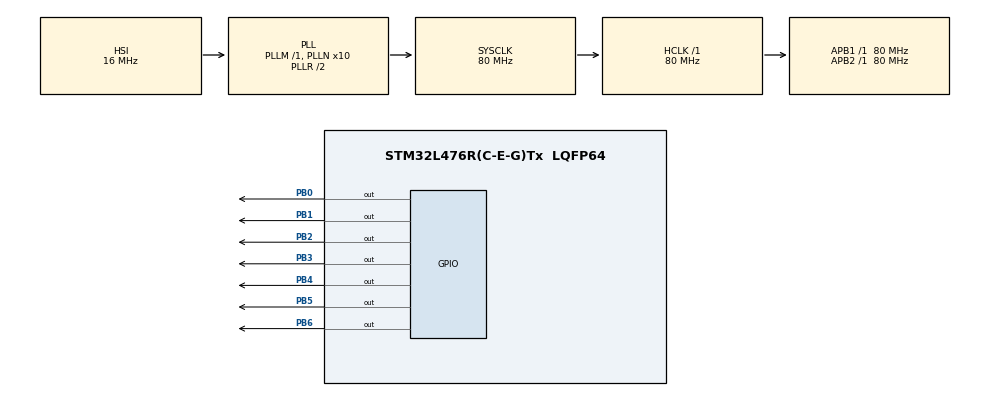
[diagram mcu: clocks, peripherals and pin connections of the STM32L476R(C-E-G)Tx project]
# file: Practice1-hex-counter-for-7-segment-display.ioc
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Mcu.Family=STM32L4
Mcu.Name=STM32L476R(C-E-G)Tx
Mcu.Package=LQFP64
NVIC.PriorityGroup=NVIC_PRIORITYGROUP_4
PB0.Signal=GPIO_Output
PB1.Signal=GPIO_Output
PB2.Signal=GPIO_Output
PB3\ (JTDO-TRACESWO).Signal=GPIO_Output
PB4\ (NJTRST).Signal=GPIO_Output
PB5.Signal=GPIO_Output
PB6.Signal=GPIO_Output
ProjectManager.HeapSize=0x200
ProjectManager.StackSize=0x400
ProjectManager.TargetToolchain=STM32CubeIDE
RCC.ADCFreq_Value=64000000
RCC.AHBFreq_Value=80000000
RCC.APB1Freq_Value=80000000
RCC.APB1TimFreq_Value=80000000
RCC.APB2Freq_Value=80000000
RCC.APB2TimFreq_Value=80000000
RCC.CortexFreq_Value=80000000
RCC.HCLKFreq_Value=80000000
RCC.HSE_VALUE=8000000
RCC.HSI_VALUE=16000000
RCC.MSI_VALUE=4000000
RCC.PLLN=10
RCC.PLLSourceVirtual=RCC_PLLSOURCE_HSI
RCC.PREFETCH_ENABLE=1
RCC.SYSCLKFreq_VALUE=80000000
RCC.SYSCLKSource=RCC_SYSCLKSOURCE_PLLCLK
RCC.USBFreq_Value=64000000
RCC.VCOOutputFreq_Value=160000000
board=NUCLEO-L476RG

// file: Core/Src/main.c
/* USER CODE BEGIN Header */
/**
  ******************************************************************************
  * @file           : main.c
  * @brief          : Main program body
  ******************************************************************************
  * @attention
  *
  * Copyright (c) 2025 STMicroelectronics.
  * All rights reserved.
  *
  * This software is licensed under terms that can be found in the LICENSE file
  * in the root directory of this software component.
  * If no LICENSE file comes with this software, it is provided AS-IS.
  *
  ******************************************************************************
  */
/* USER CODE END Header */
#include "main.h"

void SystemClock_Config(void);
static void MX_GPIO_Init(void);

/* USER CODE BEGIN 0 */

//array of register hex number
int LED_Hex[] = {
  0x3F,    // 0
  0x06,    // 1
  0x5B,    // 2
  0x4F,    // 3
  0x66,    // 4
  0x6D,    // 5
  0x7D,    // 6
  0x27,    // 7
  0x7F,    // 8
  0x67,    // 9
  0x5F,    // A
  0x7C,    // B
  0x58,    // C
  0x5E,    // D
  0x7B,    // E
  0x71     // F
};

int CounterNumber = 0;    //counter number

void ResetAllData() {
  GPIOB -> ODR = 0x00;    //reset all register data
}

/* USER CODE END 0 */

int main(void)
{

  /* MCU Configuration--------------------------------------------------------*/

  /* Reset of all peripherals, Initializes the Flash interface and the Systick. */
  HAL_Init();

  /* Configure the system clock */
  SystemClock_Config();

  /* Initialize all configured peripherals */
  MX_GPIO_Init();
  /* USER CODE BEGIN 2 */

  ResetAllData();    //reset all data

  /* USER CODE END 2 */

  /* Infinite loop */
  while (1)
  {

    GPIOB -> ODR = LED_Hex[CounterNumber];    //write data to register
    HAL_Delay(1000);    //delay time
    CounterNumber++;    //increase counter
    //check the max counter number
    if(CounterNumber > 15){
      CounterNumber = 0;    //reset the counter to zero
    }

  }
}

void SystemClock_Config(void)
{
  RCC_OscInitTypeDef RCC_OscInitStruct = {0};
  RCC_ClkInitTypeDef RCC_ClkInitStruct = {0};

  /** Configure the main internal regulator output voltage
  */
  if (HAL_PWREx_ControlVoltageScaling(PWR_REGULATOR_VOLTAGE_SCALE1) != HAL_OK)
  {
    Error_Handler();
  }

  /** Initializes the RCC Oscillators according to the specified parameters
  * in the RCC_OscInitTypeDef structure.
  */
  RCC_OscInitStruct.OscillatorType = RCC_OSCILLATORTYPE_HSI;
  RCC_OscInitStruct.HSIState = RCC_HSI_ON;
  RCC_OscInitStruct.HSICalibrationValue = RCC_HSICALIBRATION_DEFAULT;
  RCC_OscInitStruct.PLL.PLLState = RCC_PLL_ON;
  RCC_OscInitStruct.PLL.PLLSource = RCC_PLLSOURCE_HSI;
  RCC_OscInitStruct.PLL.PLLM = 1;
  RCC_OscInitStruct.PLL.PLLN = 10;
  RCC_OscInitStruct.PLL.PLLP = RCC_PLLP_DIV7;
  RCC_OscInitStruct.PLL.PLLQ = RCC_PLLQ_DIV2;
  RCC_OscInitStruct.PLL.PLLR = RCC_PLLR_DIV2;
  if (HAL_RCC_OscConfig(&RCC_OscInitStruct) != HAL_OK)
  {
    Error_Handler();
  }

  /** Initializes the CPU, AHB and APB buses clocks
  */
  RCC_ClkInitStruct.ClockType = RCC_CLOCKTYPE_HCLK|RCC_CLOCKTYPE_SYSCLK
                              |RCC_CLOCKTYPE_PCLK1|RCC_CLOCKTYPE_PCLK2;
  RCC_ClkInitStruct.SYSCLKSource = RCC_SYSCLKSOURCE_PLLCLK;
  RCC_ClkInitStruct.AHBCLKDivider = RCC_SYSCLK_DIV1;
  RCC_ClkInitStruct.APB1CLKDivider = RCC_HCLK_DIV1;
  RCC_ClkInitStruct.APB2CLKDivider = RCC_HCLK_DIV1;

  if (HAL_RCC_ClockConfig(&RCC_ClkInitStruct, FLASH_LATENCY_4) != HAL_OK)
  {
    Error_Handler();
  }
}

static void MX_GPIO_Init(void)
{
  GPIO_InitTypeDef GPIO_InitStruct = {0};

  /* GPIO Ports Clock Enable */
  __HAL_RCC_GPIOB_CLK_ENABLE();

  /*Configure GPIO pin Output Level */
  HAL_GPIO_WritePin(GPIOB, GPIO_PIN_0|GPIO_PIN_1|GPIO_PIN_2|GPIO_PIN_3
                          |GPIO_PIN_4|GPIO_PIN_5|GPIO_PIN_6, GPIO_PIN_RESET);

  /*Configure GPIO pins : PB0 PB1 PB2 PB3
                           PB4 PB5 PB6 */
  GPIO_InitStruct.Pin = GPIO_PIN_0|GPIO_PIN_1|GPIO_PIN_2|GPIO_PIN_3
                          |GPIO_PIN_4|GPIO_PIN_5|GPIO_PIN_6;
  GPIO_InitStruct.Mode = GPIO_MODE_OUTPUT_PP;
  GPIO_InitStruct.Pull = GPIO_NOPULL;
  GPIO_InitStruct.Speed = GPIO_SPEED_FREQ_LOW;
  HAL_GPIO_Init(GPIOB, &GPIO_InitStruct);

}

void Error_Handler(void)
{
  __disable_irq();
  while (1)
  {
  }
}
